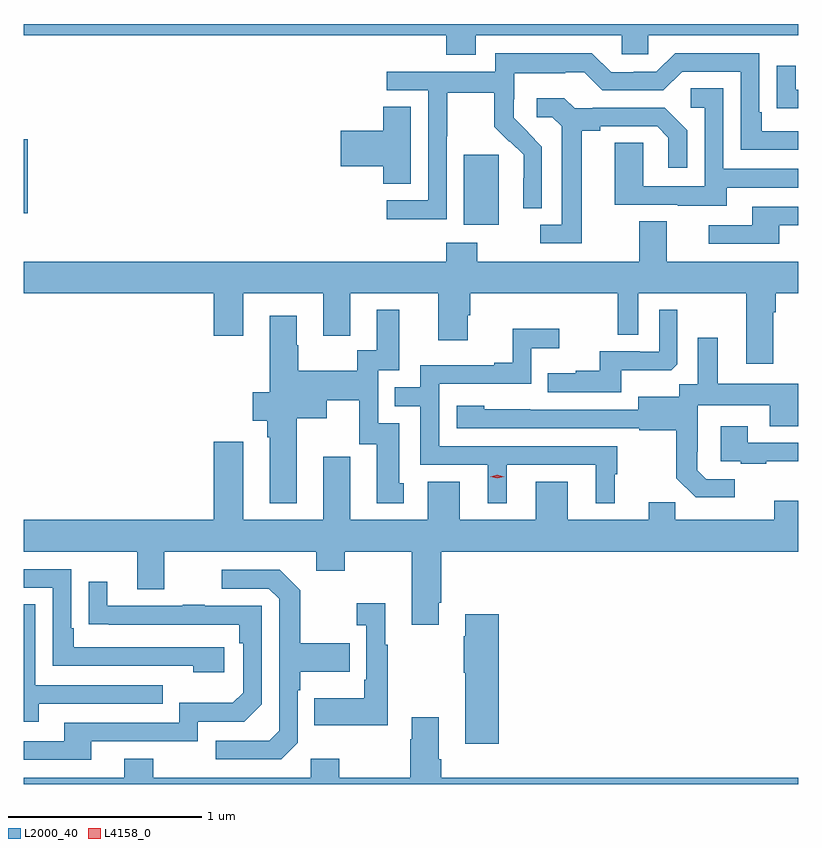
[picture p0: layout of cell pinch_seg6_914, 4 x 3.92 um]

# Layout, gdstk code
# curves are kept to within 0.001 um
import gdstk
lib = gdstk.Library(unit=1e-6, precision=1e-09)
def R(c, l, rs):  # rectangles x0, y0, x1, y1
    for r in rs: c.add(gdstk.rectangle(r[:2], r[2:], *l))
def P(c, l, *ps):  # polygons
    for p in ps: c.add(gdstk.Polygon(p, *l))
L2000_40 = (2000, 40)
L4158_0 = (4158, 0)

pinch_seg6_914 = lib.new_cell('pinch_seg6_914')
R(pinch_seg6_914, L2000_40, [(349.139,918.386,349.318,918.747), (346.866,918.447,346.889,918.828)])
P(pinch_seg6_914, L2000_40, [(349.201,919.364),(349.953,919.364),(349.953,919.266),(350.091,919.266),(350.091,919.364),(350.866,919.364),(350.866,919.423),(346.866,919.423),(346.866,919.364),(349.049,919.364),(349.049,919.265),(349.201,919.265)],
  [(349.05,918.844),(349.053,918.844),(349.053,919.068),(349.297,919.068),(349.297,918.893),(349.374,918.816),(349.377,918.819),(349.448,918.749),(349.448,918.626),(349.446,918.626),(349.446,918.472),(349.542,918.472),(349.542,918.79),(349.396,918.938),(349.396,919.035),(349.398,919.035),(349.398,919.169),(349.661,919.169),(349.661,919.173),(349.761,919.173),(349.854,919.08),(350.169,919.08),(350.265,919.176),(350.568,919.176),(350.568,918.774),(350.866,918.774),(350.866,918.87),(350.677,918.87),(350.677,918.967),(350.664,918.967),(350.664,919.272),(350.229,919.272),(350.133,919.176),(350.015,919.176),(350.015,919.173),(349.899,919.173),(349.799,919.273),(349.302,919.273),(349.302,919.176),(348.741,919.176),(348.741,919.08),(348.954,919.08),(348.954,918.513),(348.741,918.513),(348.741,918.415),(349.05,918.415)],
  [(350.866,919.083),(350.851,919.083),(350.851,919.207),(350.755,919.207),(350.755,918.988),(350.857,918.988),(350.857,918.987),(350.866,918.987)],
  [(350.497,918.579),(350.866,918.579),(350.866,918.675),(350.478,918.675),(350.478,919.091),(350.31,919.091),(350.31,918.99),(350.382,918.99),(350.382,918.585),(350.064,918.585),(350.064,918.809),(349.919,918.809),(349.919,918.489),(350.243,918.489),(350.243,918.485),(350.497,918.485)],
  [(349.747,918.872),(349.843,918.872),(349.843,918.894),(350.138,918.894),(350.195,918.837),(350.195,918.681),(350.292,918.681),(350.292,918.874),(350.176,918.99),(349.804,918.99),(349.804,918.987),(349.71,918.987),(349.658,919.039),(349.515,919.039),(349.515,918.942),(349.596,918.942),(349.643,918.895),(349.643,918.387),(349.533,918.387),(349.533,918.291),(349.747,918.291)],
  [(348.865,918.995),(348.722,918.995),(348.722,918.872),(348.504,918.872),(348.504,918.689),(348.722,918.689),(348.722,918.598),(348.865,918.598)],
  [(350.767,918.384),(350.866,918.384),(350.866,918.48),(350.627,918.48),(350.627,918.384),(350.403,918.384),(350.403,918.288),(350.767,918.288)],
  [(349.049,918.196),(346.866,918.196),(346.866,918.032),(347.849,918.032),(347.849,917.814),(348.001,917.814),(348.001,918.032),(348.413,918.032),(348.413,917.814),(348.553,917.814),(348.553,918.032),(349.007,918.032),(349.007,917.79),(349.159,917.79),(349.159,917.919),(349.172,917.919),(349.172,918.032),(349.932,918.032),(349.932,917.818),(350.04,917.818),(350.04,918.032),(350.597,918.032),(350.597,917.67),(350.737,917.67),(350.737,917.936),(350.75,917.936),(350.75,918.032),(350.866,918.032),(350.866,918.196),(350.185,918.196),(350.185,918.404),(350.045,918.404),(350.045,918.196),(349.209,918.196),(349.209,918.295),(349.049,918.295)],
  [(348.277,917.387),(348.43,917.387),(348.43,917.48),(348.6,917.48),(348.6,917.253),(348.689,917.253),(348.689,916.95),(348.829,916.95),(348.829,917.052),(348.805,917.052),(348.805,917.361),(348.696,917.361),(348.696,917.637),(348.805,917.637),(348.805,917.947),(348.689,917.947),(348.689,917.738),(348.588,917.738),(348.588,917.632),(348.285,917.632),(348.285,917.766),(348.277,917.766),(348.277,917.917),(348.137,917.917),(348.137,917.522),(348.05,917.522),(348.05,917.375),(348.125,917.375),(348.125,917.291),(348.137,917.291),(348.137,916.949),(348.277,916.949)],
  [(349.951,917.636),(350.209,917.636),(350.241,917.667),(350.241,917.947),(350.148,917.947),(350.148,917.73),(350.048,917.73),(350.048,917.733),(349.841,917.733),(349.841,917.632),(349.717,917.632),(349.717,917.62),(349.573,917.62),(349.573,917.523),(349.951,917.523)],
  [(349.36,917.148),(349.82,917.148),(349.82,916.949),(349.918,916.949),(349.918,917.1),(349.93,917.1),(349.93,917.244),(349.011,917.244),(349.011,917.565),(349.488,917.565),(349.488,917.75),(349.63,917.75),(349.63,917.849),(349.39,917.849),(349.39,917.674),(349.295,917.674),(349.295,917.661),(348.915,917.661),(348.915,917.547),(348.781,917.547),(348.781,917.451),(348.915,917.451),(348.915,917.148),(349.262,917.148),(349.262,916.949),(349.36,916.949)],
  [(350.536,917.073),(350.391,917.073),(350.344,917.12),(350.344,917.215),(350.346,917.215),(350.346,917.456),(350.717,917.456),(350.717,917.347),(350.866,917.347),(350.866,917.566),(350.449,917.566),(350.449,917.803),(350.345,917.803),(350.345,917.564),(350.25,917.564),(350.25,917.5),(350.039,917.5),(350.039,917.433),(349.245,917.434),(349.245,917.452),(349.101,917.452),(349.101,917.337),(350.043,917.337),(350.043,917.325),(350.235,917.325),(350.235,917.079),(350.335,916.979),(350.536,916.979)],
  [(350.701,917.165),(350.866,917.165),(350.866,917.262),(350.605,917.262),(350.605,917.347),(350.465,917.347),(350.465,917.166),(350.569,917.166),(350.569,917.154),(350.701,917.154)],
  [(348.413,917.188),(348.413,916.864),(348.001,916.864),(348.001,917.266),(347.849,917.266),(347.849,916.864),(346.866,916.864),(346.866,916.7),(347.453,916.7),(347.453,916.506),(347.593,916.506),(347.593,916.7),(348.377,916.7),(348.377,916.601),(348.525,916.601),(348.525,916.7),(348.869,916.7),(348.869,916.323),(349.009,916.323),(349.009,916.435),(349.022,916.435),(349.022,916.7),(350.866,916.7),(350.866,916.963),(350.741,916.963),(350.741,916.864),(350.231,916.864),(350.231,916.955),(350.093,916.955),(350.093,916.864),(349.675,916.864),(349.675,917.059),(349.511,917.059),(349.511,916.864),(349.117,916.864),(349.117,917.059),(348.953,917.059),(348.953,916.864),(348.553,916.864),(348.553,917.188)],
  [(347.902,916.206),(347.125,916.206),(347.125,916.303),(347.112,916.303),(347.112,916.608),(346.866,916.608),(346.866,916.512),(347.016,916.512),(347.016,916.11),(347.741,916.11),(347.741,916.076),(347.902,916.076)],
  [(348.282,915.714),(348.282,915.983),(348.295,915.983),(348.295,916.079),(348.551,916.079),(348.551,916.227),(348.295,916.227),(348.295,916.499),(348.189,916.605),(347.889,916.605),(347.889,916.509),(348.132,916.509),(348.186,916.455),(348.186,915.774),(348.135,915.723),(347.859,915.723),(347.859,915.627),(348.195,915.627)],
  [(347.215,915.72),(347.766,915.72),(347.766,915.822),(348.006,915.822),(348.096,915.912),(348.096,916.419),(347.801,916.419),(347.801,916.424),(347.689,916.424),(347.689,916.419),(347.299,916.419),(347.299,916.543),(347.203,916.543),(347.203,916.324),(347.98,916.323),(347.98,916.226),(348,916.226),(348,915.972),(347.947,915.919),(347.67,915.919),(347.67,915.816),(347.075,915.816),(347.075,915.72),(346.866,915.72),(346.866,915.624),(347.215,915.624)],
  [(348.745,916.219),(348.733,916.219),(348.733,916.432),(348.585,916.432),(348.585,916.319),(348.636,916.319),(348.636,916.039),(348.624,916.039),(348.624,915.943),(348.367,915.943),(348.367,915.803),(348.745,915.803)],
  [(346.945,915.915),(347.585,915.915),(347.585,916.011),(346.926,916.011),(346.926,916.427),(346.866,916.427),(346.866,915.821),(346.945,915.821)],
  [(349.318,916.375),(349.145,916.375),(349.145,916.262),(349.138,916.262),(349.138,916.073),(349.145,916.073),(349.145,915.708),(349.318,915.708)],
  [(350.866,915.532),(349.022,915.532),(349.022,915.628),(349.009,915.628),(349.009,915.844),(348.869,915.844),(348.869,915.731),(348.862,915.731),(348.862,915.532),(348.495,915.532),(348.495,915.631),(348.348,915.631),(348.348,915.532),(347.535,915.532),(347.535,915.631),(347.387,915.631),(347.387,915.532),(346.866,915.532),(346.866,915.5),(350.866,915.5)])
P(pinch_seg6_914, L4158_0, [(349.311,917.077),(349.275,917.087),(349.275,917.087),(349.275,917.087),(349.311,917.097),(349.347,917.087),(349.347,917.087),(349.347,917.087)])

lib.write_gds('pinch_seg6_914.gds')
